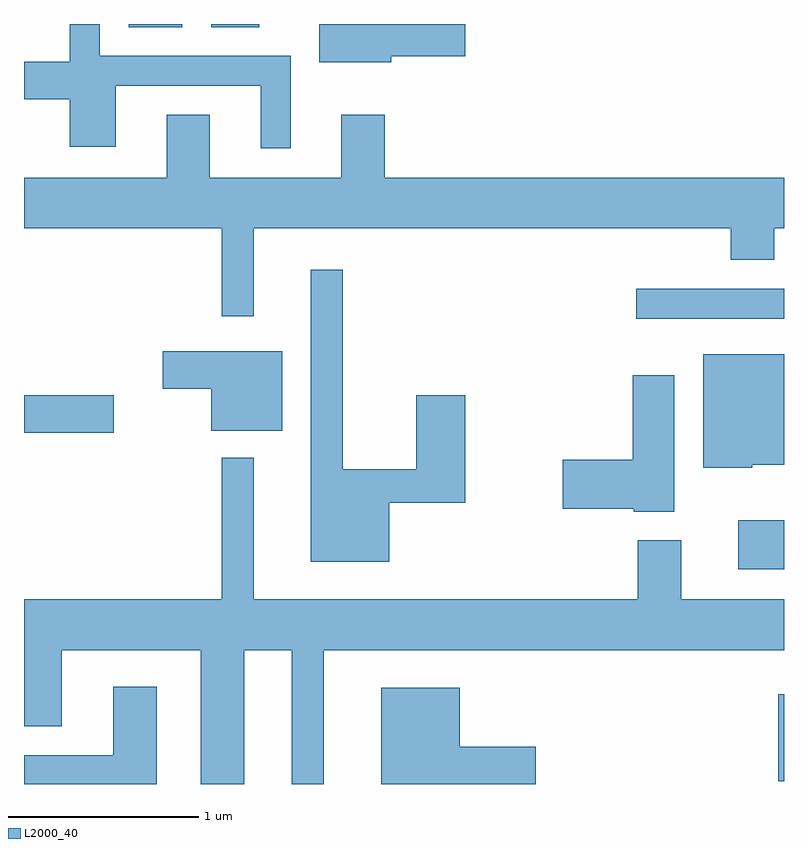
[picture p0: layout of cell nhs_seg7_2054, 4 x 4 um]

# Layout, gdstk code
import gdstk
lib = gdstk.Library(unit=1e-6, precision=1e-09)
def R(c, l, rs):  # rectangles x0, y0, x1, y1
    for r in rs: c.add(gdstk.rectangle(r[:2], r[2:], *l))
def P(c, l, *ps):  # polygons
    for p in ps: c.add(gdstk.Polygon(p, *l))
L2000_40 = (2000, 40)

nhs_seg7_2054 = lib.new_cell('nhs_seg7_2054')
R(nhs_seg7_2054, L2000_40, [(251.581,1740.266,251.611,1740.724), (251.371,1741.381,251.611,1741.639), (247.611,1742.101,248.084,1742.299), (250.833,1742.701,251.611,1742.859), (248.161,1744.236,248.444,1744.252), (248.596,1744.236,248.849,1744.252)])
P(nhs_seg7_2054, L2000_40, [(249.014,1744.084),(248.009,1744.084),(248.009,1744.252),(247.851,1744.252),(247.851,1744.054),(247.611,1744.054),(247.611,1743.856),(247.851,1743.856),(247.851,1743.606),(248.094,1743.606),(248.094,1743.926),(248.856,1743.926),(248.856,1743.598),(249.014,1743.598)],
  [(249.544,1744.081),(249.934,1744.081),(249.934,1744.252),(249.166,1744.252),(249.166,1744.051),(249.544,1744.051)],
  [(248.819,1743.176),(251.331,1743.176),(251.331,1743.011),(251.559,1743.011),(251.559,1743.176),(251.611,1743.176),(251.611,1743.444),(249.509,1743.444),(249.509,1743.774),(249.281,1743.774),(249.281,1743.444),(248.589,1743.444),(248.589,1743.774),(248.361,1743.774),(248.361,1743.444),(247.611,1743.444),(247.611,1743.176),(248.651,1743.176),(248.651,1742.713),(248.819,1742.713)],
  [(249.534,1741.731),(249.934,1741.731),(249.934,1742.299),(249.676,1742.299),(249.676,1741.909),(249.289,1741.909),(249.289,1742.958),(249.121,1742.958),(249.121,1741.421),(249.534,1741.421)],
  [(248.969,1742.529),(248.341,1742.529),(248.341,1742.331),(248.596,1742.331),(248.596,1742.111),(248.969,1742.111)],
  [(251.445,1741.931),(251.611,1741.931),(251.611,1742.514),(251.186,1742.514),(251.186,1741.916),(251.445,1741.916)],
  [(251.034,1742.404),(250.816,1742.404),(250.816,1741.959),(250.446,1741.959),(250.446,1741.701),(250.82,1741.701),(250.82,1741.686),(251.034,1741.686)],
  [(248.769,1740.956),(249.021,1740.956),(249.021,1740.252),(249.189,1740.252),(249.189,1740.956),(251.611,1740.956),(251.611,1741.224),(251.069,1741.224),(251.069,1741.534),(250.841,1741.534),(250.841,1741.224),(248.819,1741.224),(248.819,1741.968),(248.651,1741.968),(248.651,1741.224),(247.611,1741.224),(247.611,1740.556),(247.809,1740.556),(247.809,1740.956),(248.541,1740.956),(248.541,1740.252),(248.769,1740.252)],
  [(248.309,1740.764),(248.081,1740.764),(248.081,1740.404),(247.611,1740.404),(247.611,1740.252),(248.309,1740.252)],
  [(250.304,1740.449),(249.904,1740.449),(249.904,1740.759),(249.491,1740.759),(249.491,1740.252),(250.304,1740.252)])

lib.write_gds('nhs_seg7_2054.gds')
